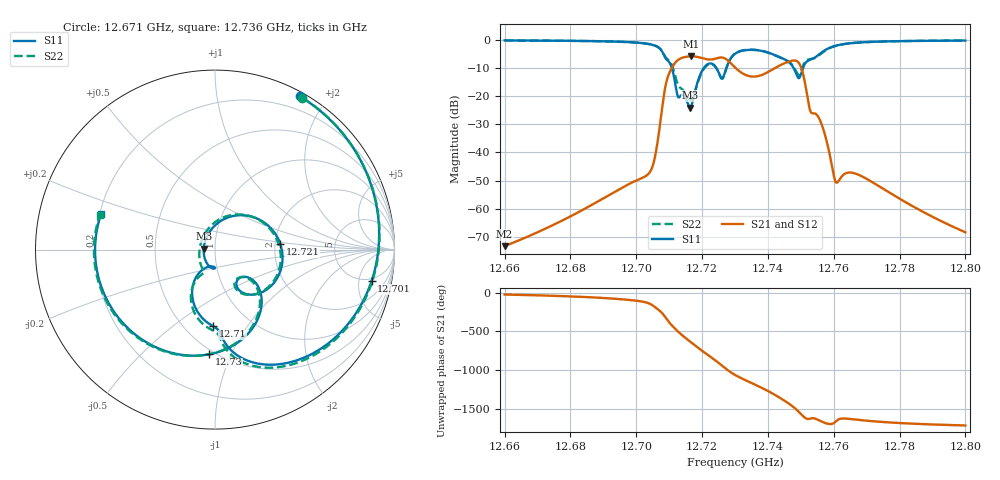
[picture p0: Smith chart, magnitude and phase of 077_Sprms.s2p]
! TOUCHSTONE file generated by CST MICROWAVE STUDIO
! Date and time: Wed Jul 31 14:36:11 2024
! Project name: WaveGuide_BPF-Ver4.1_U-shape_Ku_T3_C4_CWA_2.cst
! Parameters = {cavity_h=16; cavity_l0=10; cavity_l1=15.1795; cavity_l2=16.8252; cavity_l3=17.0982; cavity_l4=17.2493; cavity_l5=17.1521; cavity_l6=17.5881; cavity_r=2.5; cavity_screw_l=0.5; cavity_screw_r=1.5; cavity_w=8; iris_h00=0; iris_h01=8.8337; iris_h112=0; iris_h12=5.6064; iris_h211=3.6643; 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
! Header version: 2018
! Port assignment regex: !\s*Touchstone port\s*([0-9]+)\s*=\s*(CST MWS port|CST DS port)\s*([0-9]+|Zmin|Zmax)\s*\(\"(.*)\"\)(\s*mode\s*([0-9]+))?.*
! Touchstone port assignment:
! Touchstone port 1 = CST MWS port 1 ("")
! Touchstone port 2 = CST MWS port 2 ("")
# GHz S RI R 50
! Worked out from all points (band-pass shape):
!   5001 points, 12.66 GHz to 12.8 GHz, reference 50 ohm
!   highest |S21| = -5.80 dB at 12.717 GHz (marker M1); lowest = -73.4 dB at 12.66 GHz (marker M2)
!   |S21| within 3 dB of the highest: 12.71139 GHz to 12.72917 GHz (17.78 MHz wide, 0.14 % of centre); 12.74404 GHz to 12.74973 GHz (5.685 MHz wide, 0.0446 % of centre)
!   lowest |S11| = -24.0 dB at 12.716 GHz (marker M3), VSWR 1.13, Z = 44.1 + j0.382 ohm
!   |S11| at or under -10 dB: 12.71081 GHz to 12.72049 GHz (9.678 MHz wide, 0.0761 % of centre); 12.72437 GHz to 12.72737 GHz (2.995 MHz wide, 0.0235 % of centre); 12.74782 GHz to 12.75063 GHz (2.816 MHz wide, 0.0221 % of centre)
!   |S22| runs from -21.4 to -0.2 dB; largest |S21 - S12| = 1e-09
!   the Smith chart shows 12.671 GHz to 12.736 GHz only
!   S11 on the Smith chart (normalised r, x): 12.671 GHz: 0.05, +1.70; 12.701 GHz: 4.46, -7.48; 12.71 GHz: 0.68, -0.71; 12.721 GHz: 2.13, +0.16; 12.73 GHz: 0.47, -0.83; 12.736 GHz: 0.21, +0.15
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12.66  0.3042 0.9337  0.000199 -8.12e-05  0.000199 -8.12e-05  0.317 0.9293
12.67123  0.4728 0.8536  0.00034 -0.000228  0.00034 -0.000228  0.4872 0.8451
12.68335  0.6968 0.6646  0.000567 -0.00073  0.000567 -0.00073  0.7117 0.6479
12.70105  0.8727 -0.1745  -0.00103 -0.0032  -0.00103 -0.0032  0.865 -0.2085
12.70668  0.3787 -0.6358  -0.0148 0.0111  -0.0148 0.0111  0.3627 -0.6536
12.70964  -0.012 -0.4262  0.2249 -0.0158  0.2249 -0.0158  -0.0128 -0.4504
12.7137  -0.00113 -0.1046  -0.4766 0.00277  -0.4766 0.00277  -0.0609 -0.1223
12.71636  -0.0627 0.00431  0.0168 0.5123  0.0168 0.5123  -0.0849 0.00705
12.71673  -0.0587 0.0328  0.1236 0.498  0.1236 0.498  -0.0795 0.0324
12.72149  0.3635 0.0325  0.1046 -0.4415  0.1046 -0.4415  0.351 0.0407
12.72502  0.1364 -0.2278  -0.479 0.0576  -0.479 0.0576  0.1253 -0.2287
12.73  0.0283 -0.5675  0.311 0.0947  0.311 0.0947  0.0136 -0.571
12.73031  -0.0323 -0.5834  0.3083 0.0518  0.3083 0.0518  -0.0469 -0.5859
12.73605  -0.6337 0.2006  -0.0695 -0.2128  -0.0695 -0.2128  -0.6426 0.1901
12.73966  -0.0235 0.6073  -0.2616 0.0164  -0.2616 0.0164  -0.0437 0.6058
12.74308  0.4991 0.1069  -0.027 0.3389  -0.027 0.3389  0.4935 0.1113
12.74674  0.0349 -0.3841  0.4172 -0.0443  0.4172 -0.0443  0.0387 -0.3926
12.75335  -0.2062 0.4069  -0.0499 0.00226  -0.0499 0.00226  -0.257 0.3844
12.75775  0.6403 -0.2318  -0.0055 0.0158  -0.0055 0.0158  0.6281 -0.2215
12.76083  0.3188 -0.7314  -0.0023 0.00176  -0.0023 0.00176  0.2964 -0.7357
12.77668  -0.838 -0.44  -0.00104 0.00167  -0.00104 0.00167  -0.8515 -0.4159
12.8  -0.961 0.1817  5.01e-05 0.000375  5.01e-05 0.000375  -0.9584 0.1976
